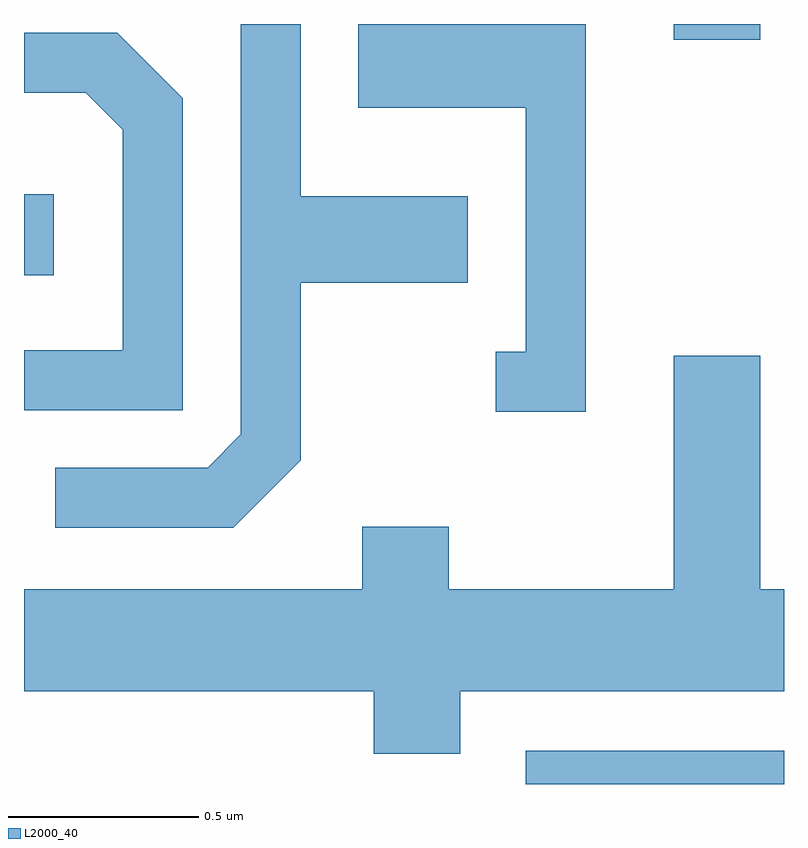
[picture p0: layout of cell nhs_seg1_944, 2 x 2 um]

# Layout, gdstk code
import gdstk
lib = gdstk.Library(unit=1e-6, precision=1e-09)
def R(c, l, rs):  # rectangles x0, y0, x1, y1
    for r in rs: c.add(gdstk.rectangle(r[:2], r[2:], *l))
def P(c, l, *ps):  # polygons
    for p in ps: c.add(gdstk.Polygon(p, *l))
L2000_40 = (2000, 40)

nhs_seg1_944 = lib.new_cell('nhs_seg1_944')
R(nhs_seg1_944, L2000_40, [(192.931,963.712,193.611,963.799), (191.611,965.051,191.689,965.264), (193.321,965.671,193.549,965.712)])
P(nhs_seg1_944, L2000_40, [(192.339,964.564),(192.339,965.031),(192.779,965.031),(192.779,965.259),(192.339,965.259),(192.339,965.712),(192.181,965.712),(192.181,964.632),(192.094,964.544),(191.693,964.544),(191.693,964.386),(192.162,964.386)],
  [(193.089,965.712),(192.491,965.712),(192.491,965.491),(192.931,965.491),(192.931,964.849),(192.853,964.849),(192.853,964.691),(193.089,964.691)],
  [(192.029,965.517),(191.857,965.689),(191.611,965.689),(191.611,965.531),(191.774,965.531),(191.871,965.434),(191.871,964.854),(191.611,964.854),(191.611,964.696),(192.029,964.696)],
  [(192.759,963.956),(193.611,963.956),(193.611,964.224),(193.549,964.224),(193.549,964.839),(193.321,964.839),(193.321,964.224),(192.729,964.224),(192.729,964.389),(192.501,964.389),(192.501,964.224),(191.611,964.224),(191.611,963.956),(192.531,963.956),(192.531,963.791),(192.759,963.791)])

lib.write_gds('nhs_seg1_944.gds')
